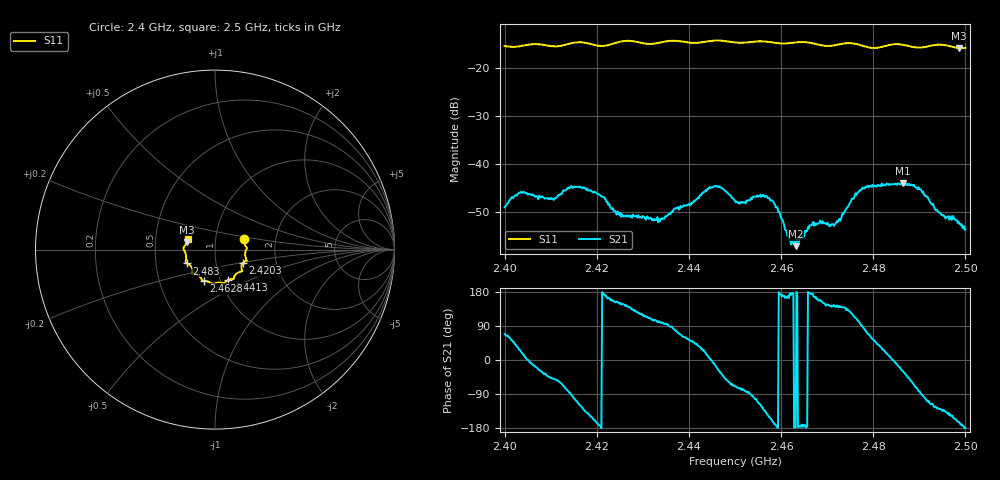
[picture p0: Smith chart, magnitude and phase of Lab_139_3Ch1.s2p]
# Hz S RI R 50
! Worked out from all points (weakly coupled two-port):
!   601 points, 2.4 GHz to 2.5 GHz, reference 50 ohm
!   highest |S21| = -44.04 dB at 2.4865 GHz (marker M1); lowest = -57.2 dB at 2.4632 GHz (marker M2)
!   lowest |S11| = -15.8 dB at 2.4987 GHz (marker M3), VSWR 1.39, Z = 36.3 + j3.04 ohm
!   |S11| at or under -10 dB: start of sweep to end of sweep
!   S12 and S22 are empty: the file has one direction only
!   S11 on the Smith chart (normalised r, x): 2.4 GHz: 1.37, +0.16; 2.4203 GHz: 1.35, -0.21; 2.4413 GHz: 1.09, -0.38; 2.4628 GHz: 0.83, -0.30; 2.483 GHz: 0.72, -0.11; 2.5 GHz: 0.73, +0.09
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2.4e9  0.1607 0.057  0.00127 0.00328  0 0  0 0
2.4035e9  0.1692 0.0214  0.00467 0.00208  0 0  0 0
2.4105e9  0.169 -0.0152  0.00279 -0.00325  0 0  0 0
2.416667e9  0.1763 -0.0614  -0.00316 -0.00474  0 0  0 0
2.420333e9  0.1552 -0.0742  -0.00473 -0.000849  0 0  0 0
2.4255e9  0.1513 -0.1174  -0.00251 0.0016  0 0  0 0
2.433333e9  0.1081 -0.1485  -0.000447 0.00242  0 0  0 0
2.441333e9  0.0744 -0.1681  0.00295 0.00284  0 0  0 0
2.445833e9  0.05 -0.1884  0.00565 -0.00163  0 0  0 0
2.45e9  0.0295 -0.1835  0.00147 -0.00384  0 0  0 0
2.457333e9  -0.0184 -0.1875  -0.00385 -0.0022  0 0  0 0
2.462833e9  -0.063 -0.1747  -0.00148 -1.84e-05  0 0  0 0
2.463167e9  -0.0648 -0.1748  -0.00138 -5.69e-05  0 0  0 0
2.466667e9  -0.0742 -0.1676  -0.00228 0.00024  0 0  0 0
2.471833e9  -0.1096 -0.1359  -0.00187 0.00151  0 0  0 0
2.477167e9  -0.1241 -0.1231  -0.000506 0.00534  0 0  0 0
2.483e9  -0.155 -0.0769  0.00599 0.00179  0 0  0 0
2.483333e9  -0.1571 -0.0759  0.00604 0.00133  0 0  0 0
2.4865e9  -0.1635 -0.0648  0.00543 -0.00316  0 0  0 0
2.490333e9  -0.163 -0.0248  0.000148 -0.00541  0 0  0 0
2.498667e9  -0.1569 0.0407  -0.00228 -0.000661  0 0  0 0
2.5e9  -0.1524 0.0588  -0.00205 -5.39e-05  0 0  0 0
